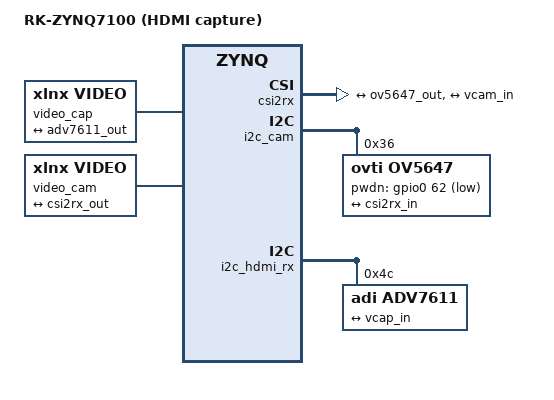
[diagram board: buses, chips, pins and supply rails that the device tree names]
// SPDX-License-Identifier: GPL-2.0
// SPDX-FileCopyrightText: 2026 Howard M. Harte
/*
 * RK-ZYNQ7100 with the HDMI input and the camera as V4L2 capture devices.
 *
 * The ADV7611 (U23) hands the fabric 24-bit RGB with its own clock; the PL
 * turns that into AXI4-Stream video (pl/board/rtl/hdmi_rx_capture.v) and an
 * AXI VDMA writes it into PS DRAM through S_AXI_HP0. The camera's OV5647
 * sends RAW10 Bayer over two MIPI lanes to a CSI-2 receiver in the PL, and a
 * second VDMA writes that through S_AXI_HP3:
 *
 *   HDMI2 -> ADV7611 -> hdmi_rx_capture -> AXI VDMA -> S_AXI_HP0 -> DRAM
 *              |                              |
 *        adv7604 (i2c-gpio)        xilinx_dma, xilinx-vipp -> /dev/video0
 *
 *   J9 -> OV5647 -> CSI-2 RX -> AXI VDMA -> S_AXI_HP3 -> DRAM
 *           |          |           |
 *        ov5647   xilinx-csi2rxss  xilinx_dma, xilinx-vipp -> /dev/video1
 *
 * Both VDMAs and the receiver sit behind one crossbar on M_AXI_GP1, 64 KB
 * apart. Everything else is zynq-rkz7100.dts.
 *
 * ⚠ WHY THIS IS A SEPARATE DEVICE TREE AND NOT PART OF THE MAIN ONE.
 *
 * The VDMA node has a `reg`, and probing it reads a PL address. With a
 * bitstream that has no VDMA at it, that read is an AXI transaction nothing
 * will ever answer and THE CPU HANGS THERE -- no oops, no console, no ping,
 * and the reboot you type next goes nowhere. Keeping these nodes out of the
 * default tree means the board still boots with any other bitstream loaded.
 *
 * Boot this tree only with the bitstream that contains the capture path.
 */

#include "zynq-rkz7100.dts"

/ {
	model = "RK-ZYNQ7100 (HDMI capture)";

	/*
	 * AXI VDMA, S2MM only. Its AXI-Lite slave sits in the M_AXI_GP1
	 * window; its data master goes to S_AXI_HP0.
	 *
	 * xlnx,datawidth = 24 because the stream is one RGB888 pixel per
	 * beat. The driver turns that into 3 bytes per pixel, and every CEA
	 * width is a multiple of 8 pixels, so a line is always a whole number
	 * of 64-bit AXI beats and the memory side never needs realignment.
	 *
	 * Every clock here is FCLK_CLK0. The ADV7611's LLC never reaches the
	 * VDMA: hdmi_rx_capture crosses the pixels into the AXI domain
	 * (axis_cdc_fifo) before they arrive. `clocks` still has to name
	 * something for each entry, and the driver only enables them.
	 */
	vdma_hdmirx: dma@80000000 {
		compatible = "xlnx,axi-vdma-1.00.a";
		#dma-cells = <1>;
		reg = <0x80000000 0x10000>;
		xlnx,addrwidth = <32>;
		xlnx,num-fstores = <3>;
		xlnx,flush-fsync = <1>;
		clocks = <&clkc 15>, <&clkc 15>, <&clkc 15>;
		clock-names = "s_axi_lite_aclk", "m_axi_s2mm_aclk",
			      "s_axis_s2mm_aclk";

		dma-channel@80000030 {
			compatible = "xlnx,axi-vdma-s2mm-channel";
			interrupt-parent = <&intc>;
			interrupts = <0 31 IRQ_TYPE_LEVEL_HIGH>;
			xlnx,datawidth = <24>;
		};
	};

	/*
	 * The V4L2 pipeline. xilinx-vipp walks this graph, binds whatever
	 * subdev the endpoint points at -- here the ADV7611, through the
	 * ordinary async notifier -- and creates /dev/video0 on the DMA.
	 */
	/*
	 * ⚠ The channel is 1, not 0, even though this VDMA has exactly one.
	 *
	 * xilinx_dma numbers MM2S channels from 0 and S2MM channels from
	 * max_channels / 2, which is 1 for a VDMA -- whether or not an MM2S
	 * channel was built. Asking for 0 gets "no VDMA channel found", then
	 * "DMA initialization failed", and no /dev/video0, with the VDMA
	 * driver itself having probed perfectly happily just above.
	 */
	video_cap: video-capture {
		compatible = "xlnx,video";
		dmas = <&vdma_hdmirx 1>;
		dma-names = "port0";

		ports {
			#address-cells = <1>;
			#size-cells = <0>;

			port@0 {
				reg = <0>;
				direction = "input";

				vcap_in: endpoint {
					remote-endpoint = <&adv7611_out>;
				};
			};
		};
	};

	/*
	 * The camera VDMA: the HDMI one's twin with a 16-bit stream, one
	 * RAW10 pixel per beat in the low ten bits, so two bytes per pixel in
	 * memory. Its stream runs on FCLK_CLK0 like every other side of it.
	 */
	vdma_cam: dma@80010000 {
		compatible = "xlnx,axi-vdma-1.00.a";
		#dma-cells = <1>;
		reg = <0x80010000 0x10000>;
		xlnx,addrwidth = <32>;
		xlnx,num-fstores = <3>;
		xlnx,flush-fsync = <1>;
		clocks = <&clkc 15>, <&clkc 15>, <&clkc 15>;
		clock-names = "s_axi_lite_aclk", "m_axi_s2mm_aclk",
			      "s_axis_s2mm_aclk";

		dma-channel@80010030 {
			compatible = "xlnx,axi-vdma-s2mm-channel";
			interrupt-parent = <&intc>;
			interrupts = <0 32 IRQ_TYPE_LEVEL_HIGH>;
			xlnx,datawidth = <16>;
		};
	};

	/*
	 * The CSI-2 receiver. csi-pxl-format 0x2b is RAW10; the video frame
	 * buffer is built in, and the driver refuses to run without one.
	 *
	 * video-reset-gpios is gpio 110 (EMIO bit 56), synchronized in the PL. The
	 * driver pulses it at probe and after every stream stop; it is how the
	 * driver recovers the core after a stream error. A clean restart does
	 * not need it: that depends on clock-noncontinuous on the sensor's
	 * endpoint, below.
	 */
	csi2rx: csi2rx@80020000 {
		compatible = "xlnx,mipi-csi2-rx-subsystem-5.0";
		reg = <0x80020000 0x20000>;
		interrupt-parent = <&intc>;
		interrupts = <0 33 IRQ_TYPE_LEVEL_HIGH>;
		clocks = <&clkc 15>, <&clkc 15>;
		clock-names = "lite_aclk", "video_aclk";
		video-reset-gpios = <&gpio0 110 GPIO_ACTIVE_HIGH>;
		xlnx,csi-pxl-format = <0x2b>;
		xlnx,vfb;

		ports {
			#address-cells = <1>;
			#size-cells = <0>;

			/* from the sensor */
			port@0 {
				reg = <0>;

				csi2rx_in: endpoint {
					data-lanes = <1 2>;
					remote-endpoint = <&ov5647_out>;
				};
			};

			/* to the VDMA */
			port@1 {
				reg = <1>;

				csi2rx_out: endpoint {
					remote-endpoint = <&vcam_in>;
				};
			};
		};
	};

	/* Channel 1, not 0, for the same reason as video_cap's. */
	video_cam: video-camera {
		compatible = "xlnx,video";
		dmas = <&vdma_cam 1>;
		dma-names = "port0";

		ports {
			#address-cells = <1>;
			#size-cells = <0>;

			port@0 {
				reg = <0>;
				direction = "input";

				vcam_in: endpoint {
					remote-endpoint = <&csi2rx_out>;
				};
			};
		};
	};

	/*
	 * The OV5647's clock. The module carries its own 25 MHz oscillator --
	 * the sensor answers on I2C with nothing driving J9's CAM_CLK -- and
	 * the driver refuses any other rate, so this only tells it so.
	 */
	cam_xclk: cam-xclk {
		compatible = "fixed-clock";
		#clock-cells = <0>;
		clock-frequency = <25000000>;
	};
};

/*
 * The sensor, on the camera connector's bit-banged bus beside the EEPROM.
 *
 * pwdn-gpios is J9 pin 5, the Raspberry Pi connector's CAM_IO0: the module's
 * enable, high = on, which the module also pulls up itself. Naming it lets
 * the driver power the sensor down between streams.
 *
 * ⚠ clock-noncontinuous is what makes a SECOND stream work. With a
 * continuous clock lane only the first stream after the bitstream loads
 * delivers frames; every later one runs with the byte clock present and no
 * packet received, and neither the receiver's video reset nor a full fabric
 * reset brings it back. Measured the same with the sensor powered off
 * between streams and with it held on. With the lane going to LP-11 between
 * lines, every stream restarts cleanly.
 */
&i2c_cam {
	ov5647: camera@36 {
		compatible = "ovti,ov5647";
		reg = <0x36>;
		clocks = <&cam_xclk>;
		pwdn-gpios = <&gpio0 62 GPIO_ACTIVE_LOW>;

		port {
			ov5647_out: endpoint {
				remote-endpoint = <&csi2rx_in>;
				data-lanes = <1 2>;
				clock-noncontinuous;
			};
		};
	};
};

/*
 * The receiver itself, on the bit-banged bus the PL already provides.
 *
 * ⚠ The address is 0x4C because the ADV7611 samples its VS/FIELD/ALSB pin
 * out of reset to choose between 0x4C and 0x4D, and that pin is wired to the
 * PL. The fabric must leave it an input; see pl/board/xdc/rkz7100_pl.xdc.
 *
 * ⚠ No reset-gpios here. The reset pin is gpio 61 (EMIO bit 7) and a gpio-hog in the
 * base tree already holds the chip out of reset -- that hog is what makes the
 * chip answer on I2C at all. Claiming the line here as well would fail to
 * probe. The driver does a software reset instead.
 *
 * ⚠ No hpd-gpios either: HPA_A on the ADV7611 drives the connector's
 * hot-plug line directly, so hot-plug needs nothing from software.
 *
 * Only the EDID page is relocated, to 0x66. Every other map keeps its
 * default address.
 */
&i2c_hdmi_rx {
	adv7611: hdmi-receiver@4c {
		compatible = "adi,adv7611";
		reg = <0x4c>, <0x66>;
		reg-names = "main", "edid";
		default-input = <0>;

		ports {
			#address-cells = <1>;
			#size-cells = <0>;

			/* HDMI in, from connector HDMI2 */
			port@0 {
				reg = <0>;
			};

			/* 24-bit parallel video out, into the PL */
			port@1 {
				reg = <1>;

				adv7611_out: endpoint {
					remote-endpoint = <&vcap_in>;
				};
			};
		};
	};
};
